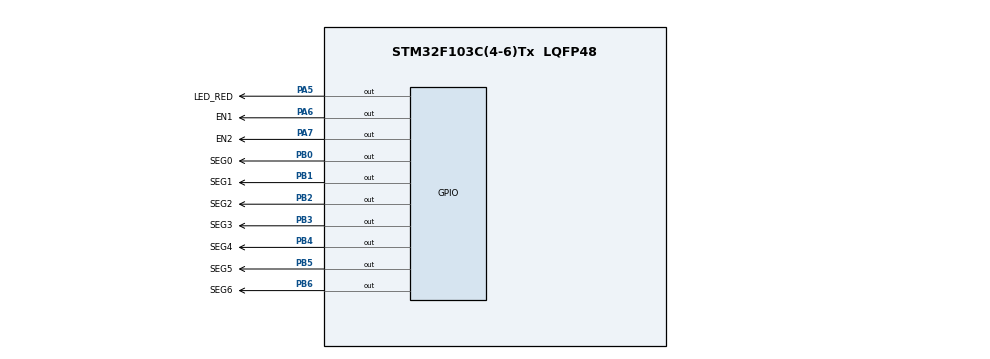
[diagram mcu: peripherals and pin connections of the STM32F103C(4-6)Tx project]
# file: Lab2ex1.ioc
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Mcu.Family=STM32F1
Mcu.Name=STM32F103C(4-6)Tx
Mcu.Package=LQFP48
NVIC.PriorityGroup=NVIC_PRIORITYGROUP_4
NVIC.TIM2_IRQn=true\:0\:0\:false\:false\:true\:true\:true
PA5.GPIO_Label=LED_RED
PA5.Signal=GPIO_Output
PA6.GPIO_Label=EN1
PA6.Signal=GPIO_Output
PA7.GPIO_Label=EN2
PA7.Signal=GPIO_Output
PB0.GPIO_Label=SEG0
PB0.Signal=GPIO_Output
PB1.GPIO_Label=SEG1
PB1.Signal=GPIO_Output
PB2.GPIO_Label=SEG2
PB2.Signal=GPIO_Output
PB3.GPIO_Label=SEG3
PB3.Signal=GPIO_Output
PB4.GPIO_Label=SEG4
PB4.Signal=GPIO_Output
PB5.GPIO_Label=SEG5
PB5.Signal=GPIO_Output
PB6.GPIO_Label=SEG6
PB6.Signal=GPIO_Output
ProjectManager.HeapSize=0x200
ProjectManager.StackSize=0x400
ProjectManager.TargetToolchain=STM32CubeIDE
RCC.APB1Freq_Value=8000000
RCC.APB2Freq_Value=8000000
TIM2.Period=9
TIM2.Prescaler=7999
VP_SYS_VS_ND.Mode=No_Debug
VP_TIM2_VS_ClockSourceINT.Mode=Internal
board=custom

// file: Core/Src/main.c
/* USER CODE BEGIN Header */
/**
  ******************************************************************************
  * @file           : main.c
  * @brief          : Main program body
  ******************************************************************************
  * @attention
  *
  * <h2><center>&copy; Copyright (c) 2023 STMicroelectronics.
  * All rights reserved.</center></h2>
  *
  * This software component is licensed by ST under BSD 3-Clause license,
  * the "License"; You may not use this file except in compliance with the
  * License. You may obtain a copy of the License at:
  *                        opensource.org/licenses/BSD-3-Clause
  *
  ******************************************************************************
  */
/* USER CODE END Header */
#include "main.h"

TIM_HandleTypeDef htim2;

void SystemClock_Config(void);
static void MX_GPIO_Init(void);
static void MX_TIM2_Init(void);

/* USER CODE BEGIN 0 */
void display7SEG(int num){
	if(num <=0){
			  HAL_GPIO_WritePin(SEG0_GPIO_Port, SEG0_Pin, RESET);
			  HAL_GPIO_WritePin(SEG1_GPIO_Port, SEG1_Pin, RESET);
			  HAL_GPIO_WritePin(SEG2_GPIO_Port, SEG2_Pin, RESET);
			  HAL_GPIO_WritePin(SEG3_GPIO_Port, SEG3_Pin, RESET);
			  HAL_GPIO_WritePin(SEG4_GPIO_Port, SEG4_Pin, RESET);
			  HAL_GPIO_WritePin(SEG5_GPIO_Port, SEG5_Pin, RESET);
			  HAL_GPIO_WritePin(SEG6_GPIO_Port, SEG6_Pin, SET);
		  }
		  if(num == 1){
			  HAL_GPIO_WritePin(SEG0_GPIO_Port, SEG0_Pin, SET);
			  HAL_GPIO_WritePin(SEG1_GPIO_Port, SEG1_Pin, RESET);
			  HAL_GPIO_WritePin(SEG2_GPIO_Port, SEG2_Pin, RESET);
			  HAL_GPIO_WritePin(SEG3_GPIO_Port, SEG3_Pin, SET);
			  HAL_GPIO_WritePin(SEG4_GPIO_Port, SEG4_Pin, SET);
			  HAL_GPIO_WritePin(SEG5_GPIO_Port, SEG5_Pin, SET);
			  HAL_GPIO_WritePin(SEG6_GPIO_Port, SEG6_Pin, SET);
		  }
		  if(num == 2){
			  HAL_GPIO_WritePin(SEG0_GPIO_Port, SEG0_Pin, RESET);
			  HAL_GPIO_WritePin(SEG1_GPIO_Port, SEG1_Pin, RESET);
			  HAL_GPIO_WritePin(SEG2_GPIO_Port, SEG2_Pin, SET);
			  HAL_GPIO_WritePin(SEG3_GPIO_Port, SEG3_Pin, RESET);
			  HAL_GPIO_WritePin(SEG4_GPIO_Port, SEG4_Pin, RESET);
			  HAL_GPIO_WritePin(SEG5_GPIO_Port, SEG5_Pin, SET);
			  HAL_GPIO_WritePin(SEG6_GPIO_Port, SEG6_Pin, RESET);
		  }
		  if(num == 3){
			  HAL_GPIO_WritePin(SEG0_GPIO_Port, SEG0_Pin, RESET);
			  HAL_GPIO_WritePin(SEG1_GPIO_Port, SEG1_Pin, RESET);
			  HAL_GPIO_WritePin(SEG2_GPIO_Port, SEG2_Pin, RESET);
			  HAL_GPIO_WritePin(SEG3_GPIO_Port, SEG3_Pin, RESET);
			  HAL_GPIO_WritePin(SEG4_GPIO_Port, SEG4_Pin, SET);
			  HAL_GPIO_WritePin(SEG5_GPIO_Port, SEG5_Pin, SET);
			  HAL_GPIO_WritePin(SEG6_GPIO_Port, SEG6_Pin, RESET);
		  }
		  if(num == 4){
			  HAL_GPIO_WritePin(SEG0_GPIO_Port, SEG0_Pin, SET);
			  HAL_GPIO_WritePin(SEG1_GPIO_Port, SEG1_Pin, RESET);
			  HAL_GPIO_WritePin(SEG2_GPIO_Port, SEG2_Pin, RESET);
			  HAL_GPIO_WritePin(SEG3_GPIO_Port, SEG3_Pin, SET);
			  HAL_GPIO_WritePin(SEG4_GPIO_Port, SEG4_Pin, SET);
			  HAL_GPIO_WritePin(SEG5_GPIO_Port, SEG5_Pin, RESET);
			  HAL_GPIO_WritePin(SEG6_GPIO_Port, SEG6_Pin, RESET);
		  }
		  if(num == 5){
			  HAL_GPIO_WritePin(SEG0_GPIO_Port, SEG0_Pin, RESET);
			  HAL_GPIO_WritePin(SEG1_GPIO_Port, SEG1_Pin, SET);
			  HAL_GPIO_WritePin(SEG2_GPIO_Port, SEG2_Pin, RESET);
			  HAL_GPIO_WritePin(SEG3_GPIO_Port, SEG3_Pin, RESET);
			  HAL_GPIO_WritePin(SEG4_GPIO_Port, SEG4_Pin, SET);
			  HAL_GPIO_WritePin(SEG5_GPIO_Port, SEG5_Pin, RESET);
			  HAL_GPIO_WritePin(SEG6_GPIO_Port, SEG6_Pin, RESET);
		  }
		  if(num == 6){
			  HAL_GPIO_WritePin(SEG0_GPIO_Port, SEG0_Pin, RESET);
			  HAL_GPIO_WritePin(SEG1_GPIO_Port, SEG1_Pin, SET);
			  HAL_GPIO_WritePin(SEG2_GPIO_Port, SEG2_Pin, RESET);
			  HAL_GPIO_WritePin(SEG3_GPIO_Port, SEG3_Pin, RESET);
			  HAL_GPIO_WritePin(SEG4_GPIO_Port, SEG4_Pin, RESET);
			  HAL_GPIO_WritePin(SEG5_GPIO_Port, SEG5_Pin, RESET);
			  HAL_GPIO_WritePin(SEG6_GPIO_Port, SEG6_Pin, RESET);
		  }
		  if(num == 7){
			  HAL_GPIO_WritePin(SEG0_GPIO_Port, SEG0_Pin, RESET);
			  HAL_GPIO_WritePin(SEG1_GPIO_Port, SEG1_Pin, RESET);
			  HAL_GPIO_WritePin(SEG2_GPIO_Port, SEG2_Pin, RESET);
			  HAL_GPIO_WritePin(SEG3_GPIO_Port, SEG3_Pin, SET);
			  HAL_GPIO_WritePin(SEG4_GPIO_Port, SEG4_Pin, SET);
			  HAL_GPIO_WritePin(SEG5_GPIO_Port, SEG5_Pin, SET);
			  HAL_GPIO_WritePin(SEG6_GPIO_Port, SEG6_Pin, SET);
		  }
		  if(num == 8){
			  HAL_GPIO_WritePin(SEG0_GPIO_Port, SEG0_Pin, RESET);
			  HAL_GPIO_WritePin(SEG1_GPIO_Port, SEG1_Pin, RESET);
			  HAL_GPIO_WritePin(SEG2_GPIO_Port, SEG2_Pin, RESET);
			  HAL_GPIO_WritePin(SEG3_GPIO_Port, SEG3_Pin, RESET);
			  HAL_GPIO_WritePin(SEG4_GPIO_Port, SEG4_Pin, RESET);
			  HAL_GPIO_WritePin(SEG5_GPIO_Port, SEG5_Pin, RESET);
			  HAL_GPIO_WritePin(SEG6_GPIO_Port, SEG6_Pin, RESET);
		  }
		  if(num >= 9){
			  HAL_GPIO_WritePin(SEG0_GPIO_Port, SEG0_Pin, RESET);
			  HAL_GPIO_WritePin(SEG1_GPIO_Port, SEG1_Pin, RESET);
			  HAL_GPIO_WritePin(SEG2_GPIO_Port, SEG2_Pin, RESET);
			  HAL_GPIO_WritePin(SEG3_GPIO_Port, SEG3_Pin, RESET);
			  HAL_GPIO_WritePin(SEG4_GPIO_Port, SEG4_Pin, RESET);
			  HAL_GPIO_WritePin(SEG5_GPIO_Port, SEG5_Pin, SET);
			  HAL_GPIO_WritePin(SEG6_GPIO_Port, SEG6_Pin, RESET);
		  }

}

/* USER CODE END 0 */

int main(void)
{

  /* MCU Configuration--------------------------------------------------------*/

  /* Reset of all peripherals, Initializes the Flash interface and the Systick. */
  HAL_Init();

  /* Configure the system clock */
  SystemClock_Config();

  /* Initialize all configured peripherals */
  MX_GPIO_Init();
  MX_TIM2_Init();
  /* USER CODE BEGIN 2 */
  HAL_TIM_Base_Start_IT (& htim2 );
  /* USER CODE END 2 */

  /* Infinite loop */
  /* USER CODE BEGIN WHILE */
  HAL_GPIO_WritePin(LED_RED_Pin, LED_RED_Pin, 1);
  HAL_GPIO_WritePin(EN1_GPIO_Port, EN1_Pin, 1);
  HAL_GPIO_WritePin(EN2_GPIO_Port, EN2_Pin, 0);
  while (1)
  {
    /* USER CODE END WHILE */
		if (HAL_GPIO_ReadPin(LED_RED_GPIO_Port, LED_RED_Pin) == 1) {
			display7SEG(1);
		} else {
			display7SEG(2);
		}
  }
}

void SystemClock_Config(void)
{
  RCC_OscInitTypeDef RCC_OscInitStruct = {0};
  RCC_ClkInitTypeDef RCC_ClkInitStruct = {0};

  /** Initializes the RCC Oscillators according to the specified parameters
  * in the RCC_OscInitTypeDef structure.
  */
  RCC_OscInitStruct.OscillatorType = RCC_OSCILLATORTYPE_HSI;
  RCC_OscInitStruct.HSIState = RCC_HSI_ON;
  RCC_OscInitStruct.HSICalibrationValue = RCC_HSICALIBRATION_DEFAULT;
  RCC_OscInitStruct.PLL.PLLState = RCC_PLL_NONE;
  if (HAL_RCC_OscConfig(&RCC_OscInitStruct) != HAL_OK)
  {
    Error_Handler();
  }
  /** Initializes the CPU, AHB and APB buses clocks
  */
  RCC_ClkInitStruct.ClockType = RCC_CLOCKTYPE_HCLK|RCC_CLOCKTYPE_SYSCLK
                              |RCC_CLOCKTYPE_PCLK1|RCC_CLOCKTYPE_PCLK2;
  RCC_ClkInitStruct.SYSCLKSource = RCC_SYSCLKSOURCE_HSI;
  RCC_ClkInitStruct.AHBCLKDivider = RCC_SYSCLK_DIV1;
  RCC_ClkInitStruct.APB1CLKDivider = RCC_HCLK_DIV1;
  RCC_ClkInitStruct.APB2CLKDivider = RCC_HCLK_DIV1;

  if (HAL_RCC_ClockConfig(&RCC_ClkInitStruct, FLASH_LATENCY_0) != HAL_OK)
  {
    Error_Handler();
  }
}

static void MX_TIM2_Init(void)
{

  TIM_ClockConfigTypeDef sClockSourceConfig = {0};
  TIM_MasterConfigTypeDef sMasterConfig = {0};

  htim2.Instance = TIM2;
  htim2.Init.Prescaler = 7999;
  htim2.Init.CounterMode = TIM_COUNTERMODE_UP;
  htim2.Init.Period = 9;
  htim2.Init.ClockDivision = TIM_CLOCKDIVISION_DIV1;
  htim2.Init.AutoReloadPreload = TIM_AUTORELOAD_PRELOAD_DISABLE;
  if (HAL_TIM_Base_Init(&htim2) != HAL_OK)
  {
    Error_Handler();
  }
  sClockSourceConfig.ClockSource = TIM_CLOCKSOURCE_INTERNAL;
  if (HAL_TIM_ConfigClockSource(&htim2, &sClockSourceConfig) != HAL_OK)
  {
    Error_Handler();
  }
  sMasterConfig.MasterOutputTrigger = TIM_TRGO_RESET;
  sMasterConfig.MasterSlaveMode = TIM_MASTERSLAVEMODE_DISABLE;
  if (HAL_TIMEx_MasterConfigSynchronization(&htim2, &sMasterConfig) != HAL_OK)
  {
    Error_Handler();
  }

}

static void MX_GPIO_Init(void)
{
  GPIO_InitTypeDef GPIO_InitStruct = {0};

  /* GPIO Ports Clock Enable */
  __HAL_RCC_GPIOA_CLK_ENABLE();
  __HAL_RCC_GPIOB_CLK_ENABLE();

  /*Configure GPIO pin Output Level */
  HAL_GPIO_WritePin(GPIOA, LED_RED_Pin|EN1_Pin|EN2_Pin, GPIO_PIN_RESET);

  /*Configure GPIO pin Output Level */
  HAL_GPIO_WritePin(GPIOB, SEG0_Pin|SEG1_Pin|SEG2_Pin|SEG3_Pin
                          |SEG4_Pin|SEG5_Pin|SEG6_Pin, GPIO_PIN_RESET);

  /*Configure GPIO pins : LED_RED_Pin EN1_Pin EN2_Pin */
  GPIO_InitStruct.Pin = LED_RED_Pin|EN1_Pin|EN2_Pin;
  GPIO_InitStruct.Mode = GPIO_MODE_OUTPUT_PP;
  GPIO_InitStruct.Pull = GPIO_NOPULL;
  GPIO_InitStruct.Speed = GPIO_SPEED_FREQ_LOW;
  HAL_GPIO_Init(GPIOA, &GPIO_InitStruct);

  /*Configure GPIO pins : SEG0_Pin SEG1_Pin SEG2_Pin SEG3_Pin
                           SEG4_Pin SEG5_Pin SEG6_Pin */
  GPIO_InitStruct.Pin = SEG0_Pin|SEG1_Pin|SEG2_Pin|SEG3_Pin
                          |SEG4_Pin|SEG5_Pin|SEG6_Pin;
  GPIO_InitStruct.Mode = GPIO_MODE_OUTPUT_PP;
  GPIO_InitStruct.Pull = GPIO_NOPULL;
  GPIO_InitStruct.Speed = GPIO_SPEED_FREQ_LOW;
  HAL_GPIO_Init(GPIOB, &GPIO_InitStruct);

}

/* USER CODE BEGIN 4 */
int counter=50;
void HAL_TIM_PeriodElapsedCallback ( TIM_HandleTypeDef * htim ){
	counter--;
	if(counter <= 0){
		counter=50;
		HAL_GPIO_TogglePin(LED_RED_GPIO_Port, LED_RED_Pin);
		HAL_GPIO_TogglePin(EN1_GPIO_Port, EN1_Pin);
		HAL_GPIO_TogglePin(EN2_GPIO_Port, EN2_Pin);
	}
}
/* USER CODE END 4 */

void Error_Handler(void)
{
  __disable_irq();
  while (1)
  {
  }
}

/************************ (C) COPYRIGHT STMicroelectronics *****END OF FILE****/
